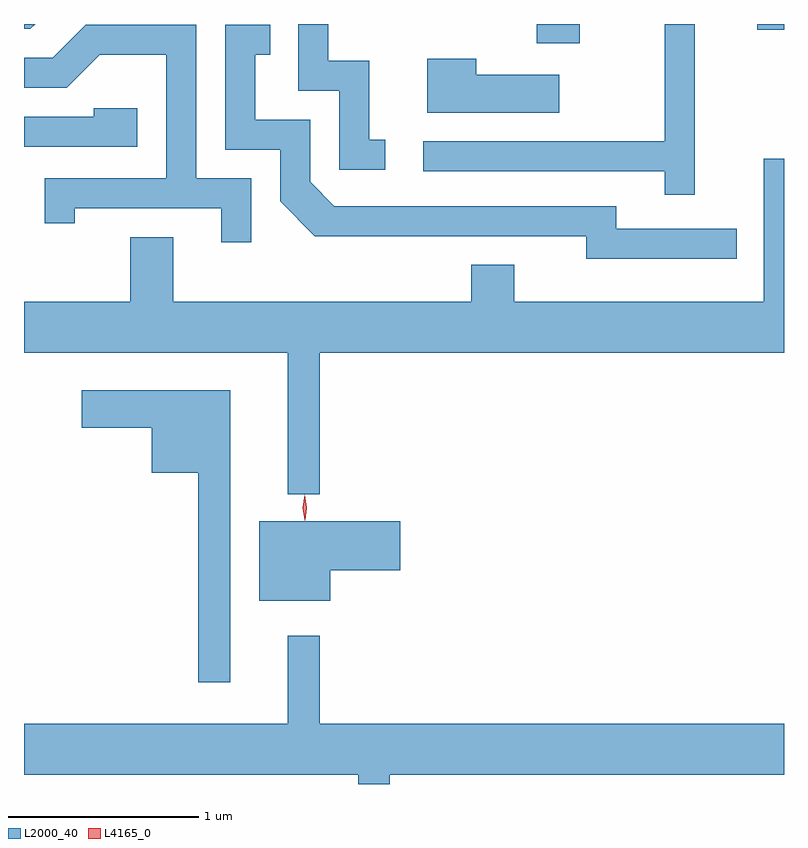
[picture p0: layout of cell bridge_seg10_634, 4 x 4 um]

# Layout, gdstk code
import gdstk
lib = gdstk.Library(unit=1e-6, precision=1e-09)
def R(c, l, rs):  # rectangles x0, y0, x1, y1
    for r in rs: c.add(gdstk.rectangle(r[:2], r[2:], *l))
def P(c, l, *ps):  # polygons
    for p in ps: c.add(gdstk.Polygon(p, *l))
L2000_40 = (2000, 40)
L4165_0 = (4165, 0)

bridge_seg10_634 = lib.new_cell('bridge_seg10_634')
R(bridge_seg10_634, L2000_40, [(1057.221,2093.346,1057.449,2093.447), (1058.381,2093.416,1058.523,2093.447)])
P(bridge_seg10_634, L2000_40, [(1056.423,2092.839),(1056.339,2092.839),(1056.339,2093.254),(1056.124,2093.254),(1056.124,2093.447),(1055.966,2093.447),(1055.966,2093.096),(1056.181,2093.096),(1056.181,2092.681),(1056.423,2092.681)],
  [(1054.583,2093.447),(1054.523,2093.447),(1054.523,2093.421),(1054.557,2093.421)],
  [(1058.054,2093.447),(1057.896,2093.447),(1057.896,2092.829),(1056.623,2092.829),(1056.623,2092.671),(1057.896,2092.671),(1057.896,2092.548),(1058.054,2092.548)],
  [(1058.273,2092.369),(1057.639,2092.369),(1057.639,2092.489),(1056.157,2092.489),(1056.029,2092.617),(1056.029,2092.944),(1055.739,2092.944),(1055.739,2093.286),(1055.818,2093.286),(1055.818,2093.444),(1055.581,2093.444),(1055.581,2092.786),(1055.871,2092.786),(1055.871,2092.514),(1056.054,2092.331),(1057.481,2092.331),(1057.481,2092.211),(1058.273,2092.211)],
  [(1055.719,2092.634),(1055.429,2092.634),(1055.429,2093.444),(1054.849,2093.444),(1054.674,2093.269),(1054.523,2093.269),(1054.523,2093.111),(1054.747,2093.111),(1054.922,2093.286),(1055.271,2093.286),(1055.271,2092.634),(1054.631,2092.634),(1054.631,2092.398),(1054.789,2092.398),(1054.789,2092.476),(1055.561,2092.476),(1055.561,2092.298),(1055.719,2092.298)],
  [(1057.339,2093.179),(1056.904,2093.179),(1056.904,2093.264),(1056.646,2093.264),(1056.646,2092.981),(1057.339,2092.981)],
  [(1055.119,2093.004),(1054.891,2093.004),(1054.891,2092.959),(1054.523,2092.959),(1054.523,2092.801),(1055.119,2092.801)],
  [(1056.079,2091.716),(1058.523,2091.716),(1058.523,2092.738),(1058.416,2092.738),(1058.416,2091.984),(1057.104,2091.984),(1057.104,2092.179),(1056.876,2092.179),(1056.876,2091.984),(1055.309,2091.984),(1055.309,2092.324),(1055.081,2092.324),(1055.081,2091.984),(1054.523,2091.984),(1054.523,2091.716),(1055.911,2091.716),(1055.911,2090.972),(1056.079,2090.972)],
  [(1055.609,2091.519),(1054.826,2091.519),(1054.826,2091.321),(1055.196,2091.321),(1055.196,2091.086),(1055.441,2091.086),(1055.441,2089.983),(1055.609,2089.983)],
  [(1056.134,2090.571),(1056.504,2090.571),(1056.504,2090.829),(1055.761,2090.829),(1055.761,2090.411),(1056.134,2090.411)],
  [(1056.449,2089.496),(1058.523,2089.496),(1058.523,2089.764),(1056.079,2089.764),(1056.079,2090.228),(1055.911,2090.228),(1055.911,2089.764),(1054.523,2089.764),(1054.523,2089.496),(1056.281,2089.496),(1056.281,2089.447),(1056.449,2089.447)])
P(bridge_seg10_634, L4165_0, [(1056.001,2090.834),(1055.991,2090.902),(1056,2090.97),(1056.001,2090.97),(1056.001,2090.97),(1056.011,2090.902),(1056.002,2090.834),(1056.002,2090.834)],
  [(1056.002,2090.84),(1056.002,2090.841),(1055.992,2090.903),(1056,2090.966),(1056.001,2090.967),(1056.001,2090.966),(1056.012,2090.904),(1056.003,2090.841)])

lib.write_gds('bridge_seg10_634.gds')
